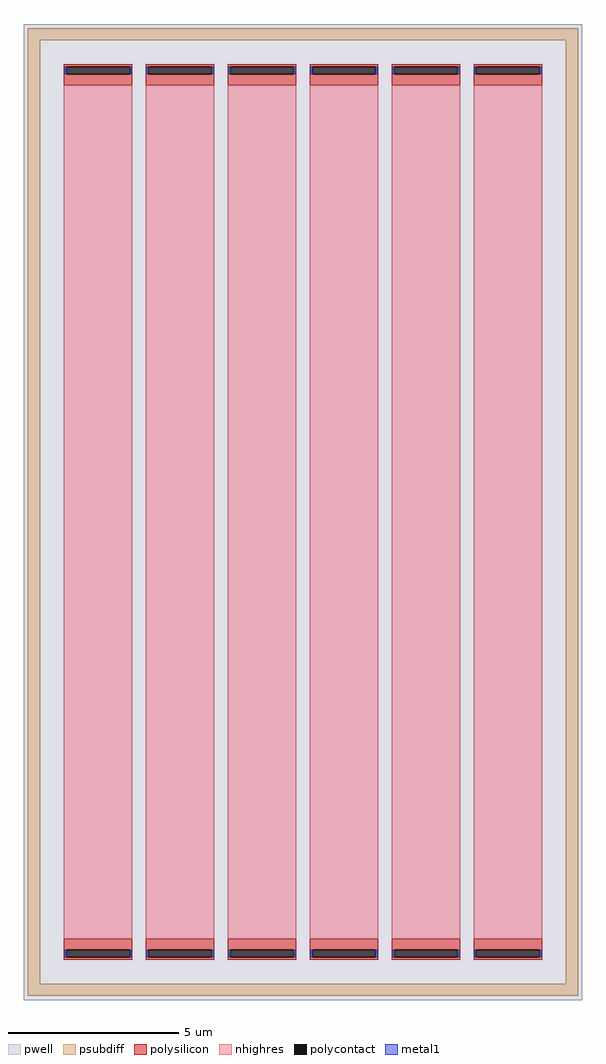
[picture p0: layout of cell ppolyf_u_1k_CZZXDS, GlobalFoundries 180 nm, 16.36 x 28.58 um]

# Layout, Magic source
magic
tech gf180mcuD
magscale 1 10
<< pwell >>
rect -1636 -2858 1636 2858
<< psubdiff >>
rect -1612 2762 1612 2834
rect -1612 -2762 -1540 2762
rect 1540 -2762 1612 2762
rect -1612 -2834 1612 -2762
<< polysilicon >>
rect -1400 2609 -1000 2622
rect -1400 2563 -1387 2609
rect -1013 2563 -1000 2609
rect -1400 2500 -1000 2563
rect -1400 -2563 -1000 -2500
rect -1400 -2609 -1387 -2563
rect -1013 -2609 -1000 -2563
rect -1400 -2622 -1000 -2609
rect -920 2609 -520 2622
rect -920 2563 -907 2609
rect -533 2563 -520 2609
rect -920 2500 -520 2563
rect -920 -2563 -520 -2500
rect -920 -2609 -907 -2563
rect -533 -2609 -520 -2563
rect -920 -2622 -520 -2609
rect -440 2609 -40 2622
rect -440 2563 -427 2609
rect -53 2563 -40 2609
rect -440 2500 -40 2563
rect -440 -2563 -40 -2500
rect -440 -2609 -427 -2563
rect -53 -2609 -40 -2563
rect -440 -2622 -40 -2609
rect 40 2609 440 2622
rect 40 2563 53 2609
rect 427 2563 440 2609
rect 40 2500 440 2563
rect 40 -2563 440 -2500
rect 40 -2609 53 -2563
rect 427 -2609 440 -2563
rect 40 -2622 440 -2609
rect 520 2609 920 2622
rect 520 2563 533 2609
rect 907 2563 920 2609
rect 520 2500 920 2563
rect 520 -2563 920 -2500
rect 520 -2609 533 -2563
rect 907 -2609 920 -2563
rect 520 -2622 920 -2609
rect 1000 2609 1400 2622
rect 1000 2563 1013 2609
rect 1387 2563 1400 2609
rect 1000 2500 1400 2563
rect 1000 -2563 1400 -2500
rect 1000 -2609 1013 -2563
rect 1387 -2609 1400 -2563
rect 1000 -2622 1400 -2609
<< polycontact >>
rect -1387 2563 -1013 2609
rect -1387 -2609 -1013 -2563
rect -907 2563 -533 2609
rect -907 -2609 -533 -2563
rect -427 2563 -53 2609
rect -427 -2609 -53 -2563
rect 53 2563 427 2609
rect 53 -2609 427 -2563
rect 533 2563 907 2609
rect 533 -2609 907 -2563
rect 1013 2563 1387 2609
rect 1013 -2609 1387 -2563
<< nhighres >>
rect -1400 -2500 -1000 2500
rect -920 -2500 -520 2500
rect -440 -2500 -40 2500
rect 40 -2500 440 2500
rect 520 -2500 920 2500
rect 1000 -2500 1400 2500
<< metal1 >>
rect -1398 2563 -1387 2609
rect -1013 2563 -1002 2609
rect -918 2563 -907 2609
rect -533 2563 -522 2609
rect -438 2563 -427 2609
rect -53 2563 -42 2609
rect 42 2563 53 2609
rect 427 2563 438 2609
rect 522 2563 533 2609
rect 907 2563 918 2609
rect 1002 2563 1013 2609
rect 1387 2563 1398 2609
rect -1398 -2609 -1387 -2563
rect -1013 -2609 -1002 -2563
rect -918 -2609 -907 -2563
rect -533 -2609 -522 -2563
rect -438 -2609 -427 -2563
rect -53 -2609 -42 -2563
rect 42 -2609 53 -2563
rect 427 -2609 438 -2563
rect 522 -2609 533 -2563
rect 907 -2609 918 -2563
rect 1002 -2609 1013 -2563
rect 1387 -2609 1398 -2563
<< properties >>
string FIXED_BBOX -1576 -2798 1576 2798
string gencell ppolyf_u_1k
string library gf180mcu
string parameters w 2 l 25 m 1 nx 6 wmin 1.000 lmin 1.000 class resistor rho 1000 val 12.5k dummy 0 dw 0.0 term 0.0 sterm 0.0 caplen 0.4 snake 0 glc 0 grc 0 gtc 0 gbc 0 roverlap 1 endcov 100 full_metal 0 compatible {ppolyf_u_1k ppolyf_u_1k_6p0}
<< end >>
